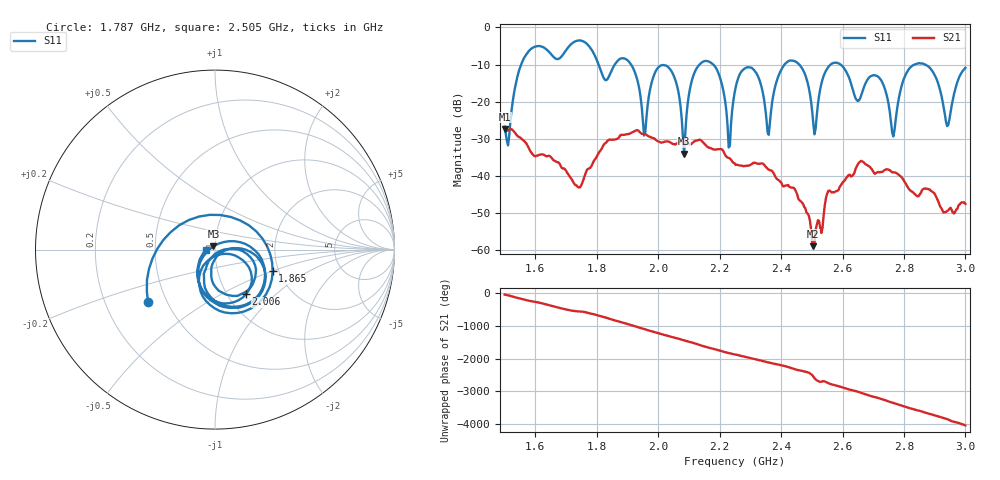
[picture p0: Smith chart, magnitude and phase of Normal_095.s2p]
# HZ S RI R 50
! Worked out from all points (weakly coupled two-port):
!   404 points, 1.5 GHz to 3 GHz, reference 50 ohm
!   highest |S21| = -27.31 dB at 1.5 GHz (marker M1); lowest = -58.8 dB at 2.505 GHz (marker M2)
!   lowest |S11| = -34.0 dB at 2.084 GHz (marker M3), VSWR 1.04, Z = 49.1 + j1.76 ohm
!   |S11| at or under -10 dB: 1.912 GHz to 2.134 GHz (222.9 MHz wide, 11 % of centre); 2.179 GHz to 2.411 GHz (231.7 MHz wide, 10.1 % of centre); 2.594 GHz to 2.835 GHz (240.9 MHz wide, 8.88 % of centre) (the widest 3 of 7)
!   S12 and S22 are empty: the file has one direction only
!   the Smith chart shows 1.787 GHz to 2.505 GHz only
!   S11 on the Smith chart (normalised r, x): 1.787 GHz: 0.39, -0.30; 1.865 GHz: 1.86, -0.51; 2.006 GHz: 1.22, -0.67; 2.505 GHz: 0.90, +0.00
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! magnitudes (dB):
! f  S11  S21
! 1.5 GHz  -26.7  -27.3
! 1.578 GHz  -6.5  -32.3
! 1.753 GHz  -3.7  -41.8
! 1.787 GHz  -6.5  -36.6
! 1.865 GHz  -9.3  -30.0
! 1.954 GHz  -29.1  -28.7
! 2.002 GHz  -10.6  -30.8
! 2.006 GHz  -10.4  -30.9
! 2.084 GHz  -34.0  -30.5
! 2.14 GHz  -9.6  -30.4
! 2.23 GHz  -32.3  -35.1
! 2.252 GHz  -16.3  -37.0
! 2.311 GHz  -11.4  -36.4
! 2.36 GHz  -28.9  -38.3
! 2.442 GHz  -9.0  -43.2
! 2.501 GHz  -22.5  -57.9
! 2.505 GHz  -25.9  -58.8
! 2.572 GHz  -9.5  -44.4
! 2.751 GHz  -21.0  -38.3
! 2.859 GHz  -9.7  -43.8
! 2.944 GHz  -26.3  -49.2
! 3 GHz  -10.9  -47.5
